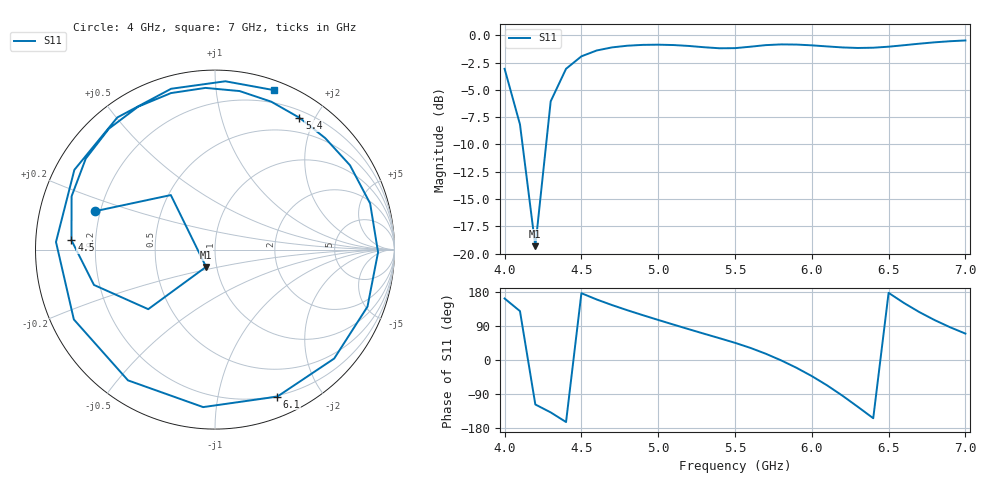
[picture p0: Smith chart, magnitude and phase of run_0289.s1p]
! Touchstone file exported from HFSS 2024.2.0
!  File:  C:/Users/wsak9/Desktop/Sim Fast/Widenad Patch/WP_AI_V1_sweep.aedt
!  Generated:  03:11:09 AM Oct 14, 2026
!  Design:  A1_model
!  Project:  WP_AI_V1_sweep
!  Setup:  Setup1
!  Solution:  Sweep
! Variables:
!  Air_gap = 2.33mm
!  Curve_Amp1 = 2.01
!  Curve_len1 = 1
!  Curve_pos = 13.22mm
!  Extra = 4.84mm
!  H_sub = 0.79mm
!  L_Patch = 22.44mm
!  L_Patch1 = 18.35mm
!  Sx = 1.76mm
!  Sy = 4.67mm
!  WS = 0.72mm
!  W_Patch = 15.27mm
!  W_Patch1 = 13.51mm
!Data is not renormalized
# GHz S MA
! Terminal data exported
! Port[1] = 1
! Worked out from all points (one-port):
!   31 points, 4 GHz to 7 GHz, reference per port
!   lowest |S11| = -19.3 dB at 4.2 GHz (marker M1), VSWR 1.24
!   |S11| at or under -10 dB: 4.117 GHz to 4.27 GHz (153.7 MHz wide, 3.66 % of centre)
!   S11 on the Smith chart (normalised r, x): 4 GHz: 0.18, +0.15; 4.5 GHz: 0.11, +0.03; 5.4 GHz: 0.29, +1.79; 6.1 GHz: 0.19, -1.49; 7 GHz: 0.08, +1.43
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4  0.7023 162.3
4.1  0.391 129.0
4.2  0.1082 -117.4
4.3  0.4986 -138.3
4.4  0.7025 -163.7
4.5  0.8013 176.3
4.6  0.8524 159.6
4.7  0.8806 144.9
4.8  0.8963 131.2
5  0.9059 105.7
5.2  0.8938 81.2
5.4  0.8723 57.4
5.5  0.8735 45.3
5.6  0.8868 32.0
5.7  0.9017 16.6
5.8  0.9086 -0.9
5.9  0.907 -20.5
6  0.8997 -42.4
6.1  0.8895 -67.0
6.2  0.88 -94.3
6.3  0.8751 -123.6
6.4  0.8775 -153.7
6.5  0.887 177.3
6.6  0.9008 150.4
6.7  0.9155 126.5
6.8  0.9288 105.3
6.9  0.9396 86.5
7  0.9472 69.7
